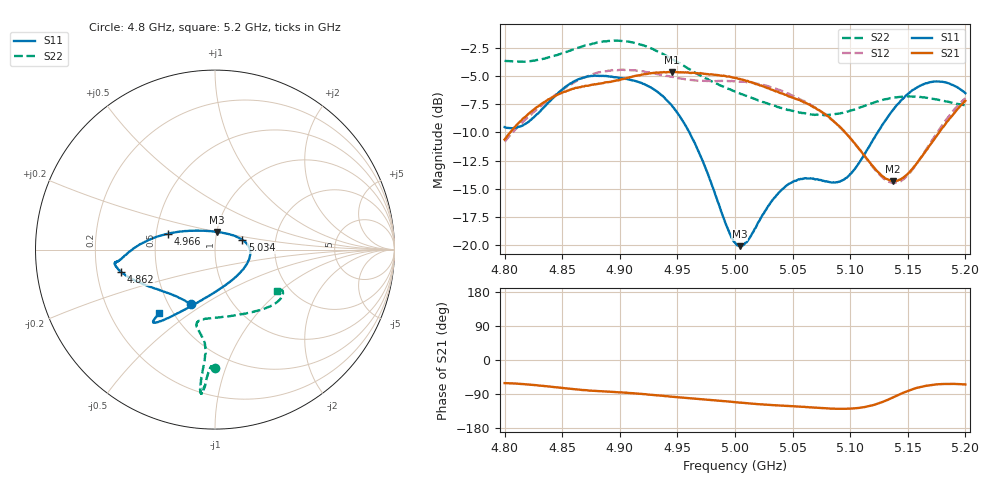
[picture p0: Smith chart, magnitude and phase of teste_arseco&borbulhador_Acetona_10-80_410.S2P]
! Network Analyzer HP8722D
! Hewlett-Packard
! Data name: Linha & Wilkinson
! Saver's name: Rodrigo Anjos
! Comments: Teste da utilização de aquisição
! continua pelo VNA HP8722D
! Time and date: 17/4/2025 17:46
!  Frequency  S11  S21  S12  S22
# HZ  S  MA R 50
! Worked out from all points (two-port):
!   401 points, 4.8 GHz to 5.2 GHz, reference 50 ohm
!   highest |S21| = -4.64 dB at 4.945 GHz (marker M1); lowest = -14.3 dB at 5.137 GHz (marker M2)
!   |S21| within 3 dB of the highest: 4.83 GHz to 5.066 GHz (236.1 MHz wide, 4.77 % of centre); 5.195732 GHz to end of sweep
!   lowest |S11| = -20.1 dB at 5.004 GHz (marker M3), VSWR 1.22, Z = 50 + j9.97 ohm
!   |S11| at or under -10 dB: 4.96 GHz to 5.124 GHz (163.4 MHz wide, 3.24 % of centre)
!   |S22| runs from -8.5 to -1.9 dB; largest |S21 - S12| = 0.88
!   S11 on the Smith chart (normalised r, x): 4.8 GHz: 0.64, -0.44; 4.862 GHz: 0.31, -0.11; 4.966 GHz: 0.58, +0.11; 5.034 GHz: 1.35, +0.15; 5.2 GHz: 0.42, -0.38
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4.8e9  0.3338 -113.9  0.2942 -60.9  0.2879 -175.2  0.6573 -90.2
4.819e9  0.3477 -134.0  0.3748 -64.3  0.3636 -174.0  0.6524 -91.8
4.862e9  0.5366 -166.6  0.4983 -77.6  0.5327 -177.2  0.7435 -94.0
4.867e9  0.55 -168.4  0.5051 -79.2  0.5477 -178.2  0.7579 -94.1
4.9e9  0.5518 -173.0  0.5397 -85.3  0.5981 175.4  0.8046 -95.7
4.934e9  0.4729 -178.9  0.581 -93.7  0.5731 171.8  0.717 -96.1
4.945e9  0.4171 175.8  0.5861 -96.8  0.5585 171.8  0.6695 -95.7
4.966e9  0.277 161.4  0.5779 -102.1  0.5371 173.7  0.5781 -95.2
4.993e9  0.1209 119.8  0.5588 -109.3  0.5345 175.9  0.4953 -98.0
5e9  0.1029 97.9  0.5513 -111.3  0.5344 176.0  0.4791 -99.4
5.004e9  0.09925 84.2  0.5456 -112.4  0.5304 175.9  0.4706 -100.4
5.012e9  0.1066 58.6  0.5304 -114.5  0.5247 175.7  0.4544 -102.0
5.034e9  0.1621 19.8  0.4841 -119.3  0.4971 174.6  0.415 -103.4
5.049e9  0.1896 4.5  0.4526 -121.8  0.4622 173.9  0.3951 -100.0
5.067e9  0.1974 -14.7  0.4126 -125.3  0.4152 173.6  0.3792 -90.5
5.086e9  0.1901 -45.0  0.3529 -128.4  0.3529 173.4  0.3802 -76.0
5.097e9  0.1993 -67.6  0.3107 -128.7  0.3105 174.7  0.3907 -67.0
5.134e9  0.3787 -117.2  0.1946 -103.0  0.1908 -156.1  0.4475 -43.0
5.137e9  0.3963 -119.0  0.1924 -98.9  0.1892 -151.1  0.4504 -41.7
5.15e9  0.4671 -124.9  0.2073 -81.7  0.2042 -131.3  0.4561 -36.8
5.17e9  0.5281 -129.5  0.2809 -66.1  0.2864 -112.3  0.447 -32.1
5.2e9  0.4714 -131.2  0.4363 -64.6  0.448 -106.7  0.4166 -33.6
